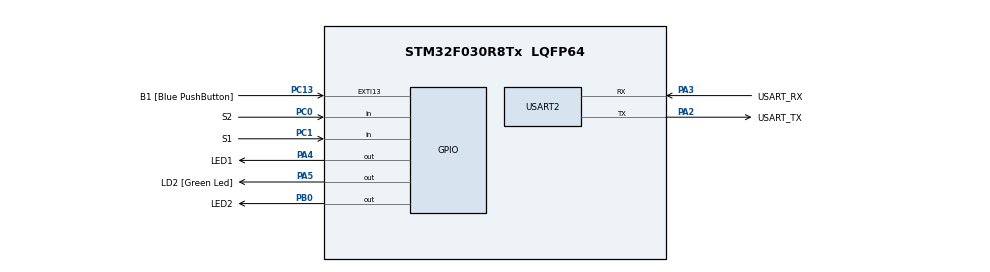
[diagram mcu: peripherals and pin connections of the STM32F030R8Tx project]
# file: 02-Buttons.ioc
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Mcu.Family=STM32F0
Mcu.Name=STM32F030R8Tx
Mcu.Package=LQFP64
PA13.GPIO_Label=TMS
PA13.Mode=Serial_Wire
PA13.Signal=SYS_SWDIO
PA14.GPIO_Label=TCK
PA14.Mode=Serial_Wire
PA14.Signal=SYS_SWCLK
PA2.GPIO_Label=USART_TX
PA2.GPIO_Mode=GPIO_MODE_AF_PP
PA2.GPIO_PuPd=GPIO_NOPULL
PA2.GPIO_Speed=GPIO_SPEED_FREQ_LOW
PA2.Mode=Asynchronous
PA2.Signal=USART2_TX
PA3.GPIO_Label=USART_RX
PA3.GPIO_Mode=GPIO_MODE_AF_PP
PA3.GPIO_PuPd=GPIO_NOPULL
PA3.GPIO_Speed=GPIO_SPEED_FREQ_LOW
PA3.Mode=Asynchronous
PA3.Signal=USART2_RX
PA4.GPIO_Label=LED1
PA4.Signal=GPIO_Output
PA5.GPIO_Label=LD2 [Green Led]
PA5.GPIO_Mode=GPIO_MODE_OUTPUT_PP
PA5.GPIO_PuPd=GPIO_NOPULL
PA5.GPIO_Speed=GPIO_SPEED_FREQ_LOW
PA5.Signal=GPIO_Output
PB0.GPIO_Label=LED2
PB0.Signal=GPIO_Output
PC0.GPIO_Label=S2
PC0.GPIO_PuPd=GPIO_PULLUP
PC0.Signal=GPIO_Input
PC1.GPIO_Label=S1
PC1.GPIO_PuPd=GPIO_PULLUP
PC1.Signal=GPIO_Input
PC13.GPIO_Label=B1 [Blue PushButton]
PC13.GPIO_ModeDefaultEXTI=GPIO_MODE_IT_FALLING
PC13.Signal=GPXTI13
PC14-OSC32_IN.Mode=LSE-External-Oscillator
PC14-OSC32_IN.Signal=RCC_OSC32_IN
PC15-OSC32_OUT.Mode=LSE-External-Oscillator
PC15-OSC32_OUT.Signal=RCC_OSC32_OUT
PF0-OSC_IN.Mode=HSE-External-Clock-Source
PF0-OSC_IN.Signal=RCC_OSC_IN
PF1-OSC_OUT.Signal=RCC_OSC_OUT
ProjectManager.HeapSize=0x200
ProjectManager.StackSize=0x400
ProjectManager.TargetToolchain=STM32CubeIDE
RCC.AHBFreq_Value=48000000
RCC.APB1Freq_Value=48000000
RCC.APB1TimFreq_Value=48000000
RCC.HCLKFreq_Value=48000000
RCC.PLLMUL=RCC_PLL_MUL12
RCC.SYSCLKFreq_VALUE=48000000
RCC.SYSCLKSource=RCC_SYSCLKSOURCE_PLLCLK
USART2.VirtualMode-Asynchronous=VM_ASYNC
board=NUCLEO-F030R8

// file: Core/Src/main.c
/* USER CODE BEGIN Header */
/**
 ******************************************************************************
 * @file           : main.c
 * @brief          : Main program body
 ******************************************************************************
 * @attention
 *
 * Copyright (c) 2024 STMicroelectronics.
 * All rights reserved.
 *
 * This software is licensed under terms that can be found in the LICENSE file
 * in the root directory of this software component.
 * If no LICENSE file comes with this software, it is provided AS-IS.
 *
 ******************************************************************************
 */
/* USER CODE END Header */
#include "main.h"

/* USER CODE BEGIN PD */
#define BLINK_TIME 		300
#define LED_TIME_SHORT 	100
#define LED_TIME_LONG	1000
#define BUTTON_PERIOD	5
/* USER CODE END PD */

/* USER CODE BEGIN PV */
volatile uint32_t Tick;
/* USER CODE END PV */

void SystemClock_Config(void);
static void MX_GPIO_Init(void);
static void MX_USART2_UART_Init(void);

/* USER CODE BEGIN 0 */
static void blink(){

	static uint32_t last_blink_tick;

	if (Tick>last_blink_tick+BLINK_TIME) {
		last_blink_tick = Tick;
		LL_GPIO_TogglePin(LED1_GPIO_Port, LED1_Pin);
	}
}

static void button(){

	static uint32_t off_time;
	static uint16_t debounce_s1 = 0xFFFF;
	static uint16_t debounce_s2 = 0xFFFF;

	debounce_s1 <<=1;
	debounce_s2 <<=1;

	//Button S1
	if (LL_GPIO_IsInputPinSet(S1_GPIO_Port, S1_Pin)){
		debounce_s1 |= 0x0001;
	}

	if (debounce_s1 == 0x7FFF){
		off_time = Tick + LED_TIME_LONG;
		LL_GPIO_SetOutputPin(LED2_GPIO_Port, LED2_Pin);
	}

	//Button S2
	if (LL_GPIO_IsInputPinSet(S2_GPIO_Port, S2_Pin)){
		debounce_s2 |= 0x0001;
	}

	if (debounce_s2 == 0x7FFF){
		off_time = Tick + LED_TIME_SHORT;
		LL_GPIO_SetOutputPin(LED2_GPIO_Port, LED2_Pin);
	}

	//LED turn off
	if (Tick > off_time) {
		LL_GPIO_ResetOutputPin(LED2_GPIO_Port, LED2_Pin);
	}

}
/* USER CODE END 0 */

int main(void)
{

	/* MCU Configuration--------------------------------------------------------*/

	/* Reset of all peripherals, Initializes the Flash interface and the Systick. */
	LL_APB1_GRP2_EnableClock(LL_APB1_GRP2_PERIPH_SYSCFG);
	LL_APB1_GRP1_EnableClock(LL_APB1_GRP1_PERIPH_PWR);

	/* Configure the system clock */
	SystemClock_Config();

	/* Initialize all configured peripherals */
	MX_GPIO_Init();
	MX_USART2_UART_Init();
	/* USER CODE BEGIN 2 */
	LL_SYSTICK_EnableIT();
	/* USER CODE END 2 */

	/* Infinite loop */
	/* USER CODE BEGIN WHILE */
	while (1)
	{
		blink();

		static uint32_t last_button_tick;

		if (Tick > last_button_tick+BUTTON_PERIOD) {
			last_button_tick = Tick;
			button();
		}

		/* USER CODE END WHILE */

	}
}

void SystemClock_Config(void)
{
	LL_FLASH_SetLatency(LL_FLASH_LATENCY_1);
	while(LL_FLASH_GetLatency() != LL_FLASH_LATENCY_1)
	{
	}
	LL_RCC_HSI_Enable();

	/* Wait till HSI is ready */
	while(LL_RCC_HSI_IsReady() != 1)
	{

	}
	LL_RCC_HSI_SetCalibTrimming(16);
	LL_RCC_PLL_ConfigDomain_SYS(LL_RCC_PLLSOURCE_HSI_DIV_2, LL_RCC_PLL_MUL_12);
	LL_RCC_PLL_Enable();

	/* Wait till PLL is ready */
	while(LL_RCC_PLL_IsReady() != 1)
	{

	}
	LL_RCC_SetAHBPrescaler(LL_RCC_SYSCLK_DIV_1);
	LL_RCC_SetAPB1Prescaler(LL_RCC_APB1_DIV_1);
	LL_RCC_SetSysClkSource(LL_RCC_SYS_CLKSOURCE_PLL);

	/* Wait till System clock is ready */
	while(LL_RCC_GetSysClkSource() != LL_RCC_SYS_CLKSOURCE_STATUS_PLL)
	{

	}
	LL_Init1msTick(48000000);
	LL_SetSystemCoreClock(48000000);
}

static void MX_USART2_UART_Init(void)
{

	LL_USART_InitTypeDef USART_InitStruct = {0};

	LL_GPIO_InitTypeDef GPIO_InitStruct = {0};

	/* Peripheral clock enable */
	LL_APB1_GRP1_EnableClock(LL_APB1_GRP1_PERIPH_USART2);

	LL_AHB1_GRP1_EnableClock(LL_AHB1_GRP1_PERIPH_GPIOA);
	/**USART2 GPIO Configuration
  PA2   ------> USART2_TX
  PA3   ------> USART2_RX
	 */
	GPIO_InitStruct.Pin = USART_TX_Pin;
	GPIO_InitStruct.Mode = LL_GPIO_MODE_ALTERNATE;
	GPIO_InitStruct.Speed = LL_GPIO_SPEED_FREQ_LOW;
	GPIO_InitStruct.OutputType = LL_GPIO_OUTPUT_PUSHPULL;
	GPIO_InitStruct.Pull = LL_GPIO_PULL_NO;
	GPIO_InitStruct.Alternate = LL_GPIO_AF_1;
	LL_GPIO_Init(USART_TX_GPIO_Port, &GPIO_InitStruct);

	GPIO_InitStruct.Pin = USART_RX_Pin;
	GPIO_InitStruct.Mode = LL_GPIO_MODE_ALTERNATE;
	GPIO_InitStruct.Speed = LL_GPIO_SPEED_FREQ_LOW;
	GPIO_InitStruct.OutputType = LL_GPIO_OUTPUT_PUSHPULL;
	GPIO_InitStruct.Pull = LL_GPIO_PULL_NO;
	GPIO_InitStruct.Alternate = LL_GPIO_AF_1;
	LL_GPIO_Init(USART_RX_GPIO_Port, &GPIO_InitStruct);

	USART_InitStruct.BaudRate = 38400;
	USART_InitStruct.DataWidth = LL_USART_DATAWIDTH_8B;
	USART_InitStruct.StopBits = LL_USART_STOPBITS_1;
	USART_InitStruct.Parity = LL_USART_PARITY_NONE;
	USART_InitStruct.TransferDirection = LL_USART_DIRECTION_TX_RX;
	USART_InitStruct.HardwareFlowControl = LL_USART_HWCONTROL_NONE;
	USART_InitStruct.OverSampling = LL_USART_OVERSAMPLING_16;
	LL_USART_Init(USART2, &USART_InitStruct);
	LL_USART_DisableIT_CTS(USART2);
	LL_USART_ConfigAsyncMode(USART2);
	LL_USART_Enable(USART2);

}

static void MX_GPIO_Init(void)
{
	LL_EXTI_InitTypeDef EXTI_InitStruct = {0};
	LL_GPIO_InitTypeDef GPIO_InitStruct = {0};

	/* GPIO Ports Clock Enable */
	LL_AHB1_GRP1_EnableClock(LL_AHB1_GRP1_PERIPH_GPIOC);
	LL_AHB1_GRP1_EnableClock(LL_AHB1_GRP1_PERIPH_GPIOF);
	LL_AHB1_GRP1_EnableClock(LL_AHB1_GRP1_PERIPH_GPIOA);
	LL_AHB1_GRP1_EnableClock(LL_AHB1_GRP1_PERIPH_GPIOB);

	/**/
	LL_GPIO_ResetOutputPin(LED1_GPIO_Port, LED1_Pin);

	/**/
	LL_GPIO_ResetOutputPin(LD2_GPIO_Port, LD2_Pin);

	/**/
	LL_GPIO_ResetOutputPin(LED2_GPIO_Port, LED2_Pin);

	/**/
	LL_SYSCFG_SetEXTISource(LL_SYSCFG_EXTI_PORTC, LL_SYSCFG_EXTI_LINE13);

	/**/
	LL_GPIO_SetPinPull(B1_GPIO_Port, B1_Pin, LL_GPIO_PULL_NO);

	/**/
	LL_GPIO_SetPinMode(B1_GPIO_Port, B1_Pin, LL_GPIO_MODE_INPUT);

	/**/
	EXTI_InitStruct.Line_0_31 = LL_EXTI_LINE_13;
	EXTI_InitStruct.LineCommand = ENABLE;
	EXTI_InitStruct.Mode = LL_EXTI_MODE_IT;
	EXTI_InitStruct.Trigger = LL_EXTI_TRIGGER_FALLING;
	LL_EXTI_Init(&EXTI_InitStruct);

	/**/
	GPIO_InitStruct.Pin = S2_Pin;
	GPIO_InitStruct.Mode = LL_GPIO_MODE_INPUT;
	GPIO_InitStruct.Pull = LL_GPIO_PULL_UP;
	LL_GPIO_Init(S2_GPIO_Port, &GPIO_InitStruct);

	/**/
	GPIO_InitStruct.Pin = S1_Pin;
	GPIO_InitStruct.Mode = LL_GPIO_MODE_INPUT;
	GPIO_InitStruct.Pull = LL_GPIO_PULL_UP;
	LL_GPIO_Init(S1_GPIO_Port, &GPIO_InitStruct);

	/**/
	GPIO_InitStruct.Pin = LED1_Pin;
	GPIO_InitStruct.Mode = LL_GPIO_MODE_OUTPUT;
	GPIO_InitStruct.Speed = LL_GPIO_SPEED_FREQ_LOW;
	GPIO_InitStruct.OutputType = LL_GPIO_OUTPUT_PUSHPULL;
	GPIO_InitStruct.Pull = LL_GPIO_PULL_NO;
	LL_GPIO_Init(LED1_GPIO_Port, &GPIO_InitStruct);

	/**/
	GPIO_InitStruct.Pin = LD2_Pin;
	GPIO_InitStruct.Mode = LL_GPIO_MODE_OUTPUT;
	GPIO_InitStruct.Speed = LL_GPIO_SPEED_FREQ_LOW;
	GPIO_InitStruct.OutputType = LL_GPIO_OUTPUT_PUSHPULL;
	GPIO_InitStruct.Pull = LL_GPIO_PULL_NO;
	LL_GPIO_Init(LD2_GPIO_Port, &GPIO_InitStruct);

	/**/
	GPIO_InitStruct.Pin = LED2_Pin;
	GPIO_InitStruct.Mode = LL_GPIO_MODE_OUTPUT;
	GPIO_InitStruct.Speed = LL_GPIO_SPEED_FREQ_LOW;
	GPIO_InitStruct.OutputType = LL_GPIO_OUTPUT_PUSHPULL;
	GPIO_InitStruct.Pull = LL_GPIO_PULL_NO;
	LL_GPIO_Init(LED2_GPIO_Port, &GPIO_InitStruct);

}

void Error_Handler(void)
{
	__disable_irq();
	while (1)
	{
	}
}
